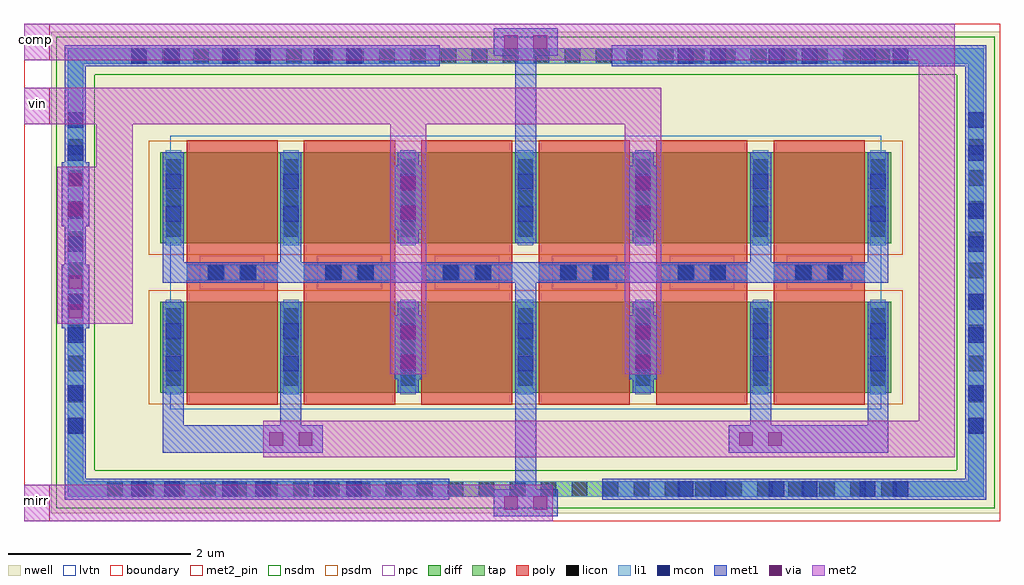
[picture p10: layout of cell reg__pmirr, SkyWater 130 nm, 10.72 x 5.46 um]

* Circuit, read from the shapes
.subckt reg__pmirr comp mirr vin
XM1 comp mirr comp vin sky130_fd_pr__pfet_01v8_lvt w=1 l=1 m=2
XM2 mirr mirr mirr vin sky130_fd_pr__pfet_01v8_lvt w=1 l=1 m=2
XM3 vin mirr comp vin sky130_fd_pr__pfet_01v8_lvt w=1 l=1 m=4
XM4 vin mirr mirr vin sky130_fd_pr__pfet_01v8_lvt w=1 l=1 m=4
.ends

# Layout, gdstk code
from math import pi, radians
import gdstk
lib = gdstk.Library(unit=1e-6, precision=1e-09)
def R(c, l, rs):  # rectangles x0, y0, x1, y1
    for r in rs: c.add(gdstk.rectangle(r[:2], r[2:], *l))
def A(c, l, x, y, w, h, nx, ny, dx, dy):  # array of equal rectangles
    R(c, l, [(x+i*dx, y+j*dy, x+i*dx+w, y+j*dy+h) for i in range(nx) for j in range(ny)])
nwell = (64, 20)
diff = (65, 20)
tap = (65, 44)
poly = (66, 20)
licon = (66, 44)
li1 = (67, 20)
mcon = (67, 44)
met1 = (68, 20)
via = (68, 44)
met2_pin = (69, 16)
met2 = (69, 20)
nsdm = (93, 44)
psdm = (94, 20)
npc = (95, 20)
lvtn = (125, 44)
boundary = (235, 4)

via__li_m1 = lib.new_cell('via__LI_M1')
R(via__li_m1, li1, [(0.03,0.03,0.56,0.2)])
R(via__li_m1, mcon, [(0.03,0.03,0.2,0.2), (0.39,0.03,0.56,0.2)])
R(via__li_m1, met1, [(0,0,0.59,0.23)])

regpm__m4 = lib.new_cell('regpm__M4')
R(regpm__m4, nwell, [(-0.97,-0.99,0.97,0.82)])
R(regpm__m4, diff, [(-0.79,-0.68,0.79,0.32)])
R(regpm__m4, poly, [(-0.5,-0.81,0.5,0.805)])
A(regpm__m4, licon, -0.73, -0.605, 0.17, 0.17, 1, 3, 0, 0.34)
A(regpm__m4, licon, 0.56, -0.605, 0.17, 0.17, 1, 3, 0, 0.34)
R(regpm__m4, licon, [(-0.255,0.555,-0.085,0.725), (0.085,0.555,0.255,0.725)])
R(regpm__m4, li1, [(-0.73,-0.7,-0.56,0.34), (0.56,-0.7,0.73,0.34), (-0.5,0.555,0.5,0.725)])
R(regpm__m4, mcon, [(-0.73,-0.445,-0.56,-0.275), (0.56,-0.445,0.73,-0.275), (-0.73,-0.085,-0.56,0.085), (0.56,-0.085,0.73,0.085), (-0.265,0.555,-0.095,0.725), (0.095,0.555,0.265,0.725)])
R(regpm__m4, met1, [(-0.76,-0.68,-0.53,0.32), (0.53,-0.68,0.76,0.32), (-0.48,0.525,0.48,0.755)])
R(regpm__m4, psdm, [(-0.915,-0.805,0.915,0.445)])
R(regpm__m4, npc, [(-0.355,0.455,0.355,0.825)])
R(regpm__m4, lvtn, [(-0.68,-0.86,0.68,0.5)])

regpm__guardring_p = lib.new_cell('regpm__Guardring_P')
A(regpm__guardring_p, licon, -31.49, 32.13, 0.17, 0.17, 25, 1, 0.34, 0)
A(regpm__guardring_p, licon, -32.19, 33.13, 0.17, 0.17, 1, 10, 0, 0.34)
A(regpm__guardring_p, licon, -22.3, 33.13, 0.17, 0.17, 1, 10, 0, 0.34)
A(regpm__guardring_p, licon, -31.755, 36.89, 0.17, 0.17, 26, 1, 0.34, 0)
regpm__guardring_p.add(gdstk.FlexPath([(-32.19,36.975),(-22.215,36.975),(-22.215,32.215),(-32.105,32.215),(-32.105,36.975)], 0.17, ends="flush", simple_path=True, layer=67, datatype=20))  # li1
regpm__guardring_p.add(gdstk.FlexPath([(-32.315,36.975),(-22.215,36.975),(-22.215,32.215),(-32.105,32.215),(-32.105,36.975)], 0.42, ends="flush", simple_path=True, layer=93, datatype=44))  # nsdm
regpm__guardring_p.add(gdstk.FlexPath([(-32.19,36.975),(-22.215,36.975),(-22.215,32.215),(-32.105,32.215),(-32.105,36.975)], 0.17, ends="flush", simple_path=True, layer=65, datatype=44))  # tap
regpm__guardring_p.add(gdstk.FlexPath([(-32.37,36.975),(-22.215,36.975),(-22.215,32.215),(-32.105,32.215),(-32.105,36.975)], 0.53, ends="flush", simple_path=True, layer=64, datatype=20))  # nwell

regpm__m3 = lib.new_cell('regpm__M3')
R(regpm__m3, nwell, [(-0.97,-0.99,0.97,0.82)])
R(regpm__m3, diff, [(-0.79,-0.68,0.79,0.32)])
R(regpm__m3, poly, [(-0.5,-0.81,0.5,0.805)])
A(regpm__m3, licon, -0.73, -0.605, 0.17, 0.17, 1, 3, 0, 0.34)
A(regpm__m3, licon, 0.56, -0.605, 0.17, 0.17, 1, 3, 0, 0.34)
R(regpm__m3, licon, [(-0.255,0.555,-0.085,0.725), (0.085,0.555,0.255,0.725)])
R(regpm__m3, li1, [(-0.73,-0.7,-0.56,0.34), (0.56,-0.7,0.73,0.34), (-0.5,0.555,0.5,0.725)])
R(regpm__m3, mcon, [(-0.73,-0.445,-0.56,-0.275), (0.56,-0.445,0.73,-0.275), (-0.73,-0.085,-0.56,0.085), (0.56,-0.085,0.73,0.085), (-0.265,0.555,-0.095,0.725), (0.095,0.555,0.265,0.725)])
R(regpm__m3, met1, [(-0.76,-0.68,-0.53,0.32), (0.53,-0.68,0.76,0.32), (-0.48,0.525,0.48,0.755)])
R(regpm__m3, psdm, [(-0.915,-0.805,0.915,0.445)])
R(regpm__m3, npc, [(-0.355,0.455,0.355,0.825)])
R(regpm__m3, lvtn, [(-0.68,-0.86,0.68,0.5)])

regpm__dum = lib.new_cell('regpm__DUM')
R(regpm__dum, nwell, [(-0.97,-0.99,0.97,0.82)])
R(regpm__dum, diff, [(-0.79,-0.68,0.79,0.32)])
R(regpm__dum, poly, [(-0.5,-0.81,0.5,0.805)])
A(regpm__dum, licon, -0.73, -0.605, 0.17, 0.17, 1, 3, 0, 0.34)
A(regpm__dum, licon, 0.56, -0.605, 0.17, 0.17, 1, 3, 0, 0.34)
R(regpm__dum, licon, [(-0.255,0.555,-0.085,0.725), (0.085,0.555,0.255,0.725)])
R(regpm__dum, li1, [(-0.73,-0.7,-0.56,0.34), (0.56,-0.7,0.73,0.34), (-0.5,0.555,0.5,0.725)])
R(regpm__dum, mcon, [(-0.73,-0.445,-0.56,-0.275), (0.56,-0.445,0.73,-0.275), (-0.73,-0.085,-0.56,0.085), (0.56,-0.085,0.73,0.085), (-0.265,0.555,-0.095,0.725), (0.095,0.555,0.265,0.725)])
R(regpm__dum, met1, [(-0.76,-0.68,-0.53,0.32), (0.53,-0.68,0.76,0.32), (-0.48,0.525,0.48,0.755)])
R(regpm__dum, psdm, [(-0.915,-0.805,0.915,0.445)])
R(regpm__dum, npc, [(-0.355,0.455,0.355,0.825)])
R(regpm__dum, lvtn, [(-0.68,-0.86,0.68,0.5)])

via__m1_m2 = lib.new_cell('via__M1_M2')
R(via__m1_m2, met1, [(0,0.05,0.7,0.35)])
R(via__m1_m2, via, [(0.115,0.125,0.265,0.275), (0.435,0.125,0.585,0.275)])
R(via__m1_m2, met2, [(0.05,0,0.65,0.4)])

reg__pmirr = lib.new_cell('reg__pmirr')
R(reg__pmirr, nwell, [(0.3,0.085,10.72,5.375)])
R(reg__pmirr, met1, [(5.395,0.35,5.625,1.41), (1.525,0.75,2.58,1.05), (8.44,0.75,9.495,1.05), (1.525,1.05,1.755,1.41), (2.815,1.05,3.045,1.41), (7.975,1.05,8.205,1.41), (9.265,1.05,9.495,1.41), (1.525,1.1,1.755,1.41), (5.395,2.41,5.625,2.615), (1.525,2.615,9.495,2.845), (1.525,2.845,1.755,3.05), (2.815,2.845,3.045,3.05), (2.815,2.845,3.045,3.05), (7.975,2.845,8.205,3.05), (9.265,2.845,9.495,3.05), (5.395,4.05,5.625,5.11)])
R(reg__pmirr, met2_pin, [(0,0,0.285,0.4), (0,4.36,0.285,4.76), (0,5.06,0.285,5.46)])
R(reg__pmirr, met2, [(0,0,0.285,0.4), (0.285,0,5.21,0.4), (4.02,1.61,4.42,4.76), (6.6,1.61,7,4.76), (0.365,2.165,0.795,3.89), (0,4.36,7,4.76), (0,5.06,0.285,5.46), (0.285,5.06,10.225,5.46)])
R(reg__pmirr, lvtn, [(1.605,1.23,9.415,4.23)])
R(reg__pmirr, boundary, [(0,0,10.72,5.46)])
reg__pmirr.add(gdstk.FlexPath([(0.565,0.35),(0.565,5.11),(4.45,5.11)], 0.23, ends="extended", simple_path=True, layer=68, datatype=20))  # met1
reg__pmirr.add(gdstk.FlexPath([(0.565,0.35),(4.555,0.35)], 0.23, ends="extended", simple_path=True, layer=68, datatype=20))  # met1
reg__pmirr.add(gdstk.FlexPath([(10.455,0.35),(10.455,5.11),(6.57,5.11)], 0.23, ends="extended", simple_path=True, layer=68, datatype=20))  # met1
reg__pmirr.add(gdstk.FlexPath([(10.455,0.35),(6.465,0.35)], 0.23, ends="extended", simple_path=True, layer=68, datatype=20))  # met1
reg__pmirr.add(gdstk.FlexPath([(2.83,0.9),(10.025,0.9)], 0.4, ends="extended", simple_path=True, layer=69, datatype=20))  # met2
reg__pmirr.add(gdstk.FlexPath([(0.995,2.365),(0.995,4.56)], 0.4, ends="extended", simple_path=True, layer=69, datatype=20))  # met2
reg__pmirr.add(gdstk.FlexPath([(10.025,0.9),(10.025,5.26)], 0.4, ends="extended", simple_path=True, layer=69, datatype=20))  # met2
reg__pmirr.add(gdstk.Reference(via__li_m1, (2.74,4.995), rotation=pi, x_reflection=True))
reg__pmirr.add(gdstk.Reference(via__li_m1, (3.74,4.995), rotation=pi, x_reflection=True))
reg__pmirr.add(gdstk.Reference(via__li_m1, (9.74,4.995), rotation=pi, x_reflection=True))
reg__pmirr.add(gdstk.Reference(via__li_m1, (7.74,4.995), rotation=pi, x_reflection=True))
reg__pmirr.add(gdstk.Reference(via__li_m1, (8.74,4.995), rotation=pi, x_reflection=True))
reg__pmirr.add(gdstk.Reference(regpm__m4, (3.575,2.09)))
reg__pmirr.add(gdstk.Reference(regpm__guardring_p, (32.67,37.325), x_reflection=True))
reg__pmirr.add(gdstk.Reference(regpm__m3, (4.865,2.09)))
reg__pmirr.add(gdstk.Reference(regpm__m4, (4.865,3.37), x_reflection=True))
reg__pmirr.add(gdstk.Reference(via__li_m1, (1.74,4.995), rotation=pi, x_reflection=True))
reg__pmirr.add(gdstk.Reference(regpm__m3, (3.575,3.37), x_reflection=True))
reg__pmirr.add(gdstk.Reference(regpm__m4, (7.445,2.09), rotation=pi, x_reflection=True))
reg__pmirr.add(gdstk.Reference(regpm__m3, (6.155,2.09), rotation=pi, x_reflection=True))
reg__pmirr.add(gdstk.Reference(regpm__m4, (6.155,3.37), rotation=pi))
reg__pmirr.add(gdstk.Reference(regpm__m3, (7.445,3.37), rotation=pi))
reg__pmirr.add(gdstk.Reference(regpm__dum, (8.735,3.37), rotation=pi))
reg__pmirr.add(gdstk.Reference(regpm__dum, (8.735,2.09), rotation=pi, x_reflection=True))
reg__pmirr.add(gdstk.Reference(regpm__dum, (2.285,2.09)))
reg__pmirr.add(gdstk.Reference(regpm__dum, (2.285,3.37), x_reflection=True))
reg__pmirr.add(gdstk.Reference(via__m1_m2, (4.42,2.26), rotation=3*pi/2, x_reflection=True))
reg__pmirr.add(gdstk.Reference(via__m1_m2, (7,2.26), rotation=3*pi/2, x_reflection=True))
reg__pmirr.add(gdstk.Reference(via__m1_m2, (4.42,3.2), rotation=pi/2))
reg__pmirr.add(gdstk.Reference(via__m1_m2, (7,3.2), rotation=pi/2))
reg__pmirr.add(gdstk.Reference(via__m1_m2, (5.86,5.46), rotation=pi))
reg__pmirr.add(gdstk.Reference(via__m1_m2, (2.58,1.1), x_reflection=True))
reg__pmirr.add(gdstk.Reference(via__m1_m2, (7.74,1.1), x_reflection=True))
reg__pmirr.add(gdstk.Reference(via__li_m1, (10.57,1.52), rotation=3*pi/2, x_reflection=True))
reg__pmirr.add(gdstk.Reference(via__li_m1, (10.57,2.52), rotation=3*pi/2, x_reflection=True))
reg__pmirr.add(gdstk.Reference(via__li_m1, (10.57,3.52), rotation=3*pi/2, x_reflection=True))
reg__pmirr.add(gdstk.Reference(via__li_m1, (10.57,4.52), rotation=3*pi/2, x_reflection=True))
reg__pmirr.add(gdstk.Reference(via__li_m1, (0.68,1.52), rotation=3*pi/2, x_reflection=True))
reg__pmirr.add(gdstk.Reference(via__li_m1, (0.68,2.52), rotation=3*pi/2, x_reflection=True))
reg__pmirr.add(gdstk.Reference(via__li_m1, (0.68,3.52), rotation=3*pi/2, x_reflection=True))
reg__pmirr.add(gdstk.Reference(via__li_m1, (0.68,4.52), rotation=3*pi/2, x_reflection=True))
reg__pmirr.add(gdstk.Reference(via__li_m1, (2.74,0.235), rotation=pi, x_reflection=True))
reg__pmirr.add(gdstk.Reference(via__li_m1, (3.74,0.235), rotation=pi, x_reflection=True))
reg__pmirr.add(gdstk.Reference(via__li_m1, (1.74,0.235), rotation=pi, x_reflection=True))
reg__pmirr.add(gdstk.Reference(via__li_m1, (8.74,0.235), rotation=pi, x_reflection=True))
reg__pmirr.add(gdstk.Reference(via__li_m1, (7.74,0.235), rotation=pi, x_reflection=True))
reg__pmirr.add(gdstk.Reference(via__li_m1, (9.74,0.235), rotation=pi, x_reflection=True))
reg__pmirr.add(gdstk.Reference(via__m1_m2, (5.86,0), rotation=pi, x_reflection=True))
reg__pmirr.add(gdstk.Reference(via__m1_m2, (0.365,3.94), rotation=3*pi/2))
reg__pmirr.add(gdstk.Reference(via__m1_m2, (0.365,2.815), rotation=3*pi/2))
reg__pmirr.add(gdstk.Label('vin', (0.145,4.585), layer=69, texttype=16))
reg__pmirr.add(gdstk.Label('comp', (0.13,5.285), layer=69, texttype=16))
reg__pmirr.add(gdstk.Label('mirr', (0.14,0.23), layer=69, texttype=16))

lib.write_gds('reg__pmirr.gds')
